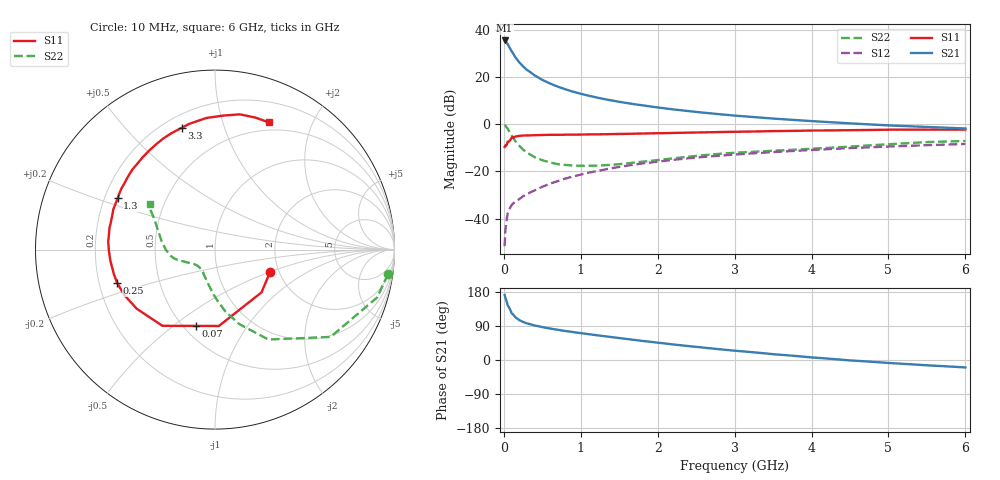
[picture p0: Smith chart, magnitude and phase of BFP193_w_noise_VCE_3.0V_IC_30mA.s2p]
! Infineon Technologies  Discrete & RF Semiconductors
! BFP193
! VCE =  3.0 V,  IC =  30 mA
! Common Emitter S-Parameters:  Jan 2017
# GHz  S  MA  R  50
!  f  S11  S21  S12  S22
! GHz  MAG  ANG  MAG  ANG  MAG  ANG  MAG  ANG
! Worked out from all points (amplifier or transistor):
!   77 points, 10 MHz to 6 GHz, reference 50 ohm
!   highest |S21| = 35.5 dB at 10 MHz (marker M1)
!   |S21| within 3 dB of that: start of sweep to 73.94 MHz
!   unconditionally stable (mu >= 1): 689 MHz to 2.498 GHz
!   at 130 MHz: K = 0.50, MSG = 31.4 dB, |S12| = -33.3 dB
!   at 2.2 GHz: K = 1.01, MAG = 10.0 dB, |S12| = -15.1 dB
!   at 6 GHz: K = 0.93, MSG = 3.3 dB, |S12| = -8.4 dB
!   lowest NFmin = 1.22 dB at 450 MHz
!   S11 on the Smith chart (normalised r, x): 10 MHz: 1.80, -0.50; 70 MHz: 0.58, -0.61; 250 MHz: 0.28, -0.15; 1.3 GHz: 0.25, +0.23; 3.3 GHz: 0.27, +0.73; 6 GHz: 0.41, +1.43
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0.01  0.3314 -22.0  59.71 171.9  0.0026 85.2  0.9732 -8.1
0.02  0.3522 -42.6  58.74 164.3  0.0057 83.9  0.9423 -16.4
0.05  0.4261 -87.1  49.69 144.4  0.0128 66.7  0.8068 -37.1
0.07  0.4378 -103.8  43.42 137.8  0.0153 62.0  0.7054 -44.3
0.1  0.5159 -124.6  35.55 123.9  0.0193 57.3  0.5826 -59.3
0.15  0.5466 -143.0  26.29 112.6  0.0232 53.2  0.436 -72.0
0.2  0.5659 -153.6  20.61 105.5  0.0258 55.4  0.349 -80.5
0.25  0.5756 -161.1  16.84 100.3  0.0297 56.2  0.2904 -86.6
0.3  0.5795 -166.0  14.19 96.7  0.0329 57.5  0.2499 -92.0
0.4  0.5861 -173.7  10.83 91.0  0.0396 61.3  0.2005 -100.0
0.5  0.5914 -179.6  8.708 86.7  0.0472 62.2  0.1725 -106.8
0.6  0.5965 175.8  7.31 83.0  0.0549 63.2  0.1548 -113.0
0.7  0.5968 172.0  6.275 79.8  0.0622 64.2  0.1425 -118.0
0.9  0.6 164.8  4.895 73.7  0.0778 64.0  0.1334 -126.5
1.1  0.6093 158.4  4.036 68.3  0.0938 63.2  0.1316 -133.6
1.3  0.6129 152.2  3.428 63.0  0.1085 61.4  0.1351 -139.6
2.1  0.648 130.5  2.165 43.5  0.1681 52.9  0.1812 -158.0
3.1  0.6954 108.8  1.482 22.9  0.2334 40.5  0.2534 -173.6
3.3  0.7037 105.2  1.397 19.3  0.2449 38.2  0.2635 -176.9
4.1  0.7366 92.3  1.14 5.4  0.2899 28.9  0.308 168.6
5.1  0.7659 78.3  0.93 -9.0  0.3411 17.5  0.3845 152.6
6  0.7697 67.0  0.813 -19.6  0.3816 7.4  0.4421 144.7
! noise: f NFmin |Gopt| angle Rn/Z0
0.45  1.22  0.33  -174  0.08
0.9  1.27  0.38  -173  0.07
1.9  1.89  0.57  -137  0.17
2.4  2.22  0.62  -121  0.38
